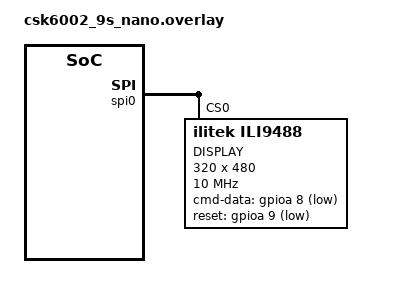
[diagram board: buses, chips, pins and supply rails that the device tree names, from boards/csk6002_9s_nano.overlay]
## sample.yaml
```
sample:
  description: Sample application for displays ili9488
  name: display_sample
tests:
  sample.board.csk6.display.kscan:
    platform_allow: csk6011a_nano
    tags: csk6
    harness: console
    timeout: 10
    harness_config:
      type: multi_line
      regex:
        - "init success"
```

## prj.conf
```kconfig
CONFIG_HEAP_MEM_POOL_SIZE=102400

#log
CONFIG_LOG=y
CONFIG_LOG_MODE_IMMEDIATE=y
CONFIG_LOG_MODE_MINIMAL=y
CONFIG_DISPLAY_LOG_LEVEL_DBG=y
CONFIG_LOG_BUFFER_SIZE=4096

#hardware
CONFIG_DISPLAY=y
CONFIG_LWEA2012=y
CONFIG_SPI=y
CONFIG_GPIO=y
CONFIG_SPI_CSK6=y
```

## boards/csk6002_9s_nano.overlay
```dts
#include <dt-bindings/display/ili9xxx.h>

&pinctrl{
                pinctrl_spi0_sclk_default: spi0_sclk_default {
                        pinctrls = < SPI0_CLK_GPIOA_07 >;
                };
                pinctrl_spi0_mosi_default: spi0_mosi_default {
                        pinctrls = < SPI0_MOSI_GPIOA_06 >;
                };
                pinctrl_spi0_miso_default: spi0_miso_default {
                        pinctrls = < SPI0_MISO_GPIOA_05 >;
                };
                pinctrl_spi0_cs_default: spi0_cs_default {
                        pinctrls = < SPI0_CS_N_GPIOA_04 >;
                }; 
};

&spi0 {
    status = "okay";
    pinctrl-0 = <&pinctrl_spi0_sclk_default &pinctrl_spi0_mosi_default &pinctrl_spi0_miso_default &pinctrl_spi0_cs_default>; 
    pinctrl-names = "default";

    ili9488@0 {
        height = <480>;
        width = <320>;
        status = "okay";
        compatible = "ilitek,ili9488";
        label = "DISPLAY";
        spi-max-frequency = <10000000>;
        reg = <0>;
        cmd-data-gpios = <&gpioa 8 1>; 
        reset-gpios = <&gpioa 9 1>; 
        pixel-format = <ILI9XXX_PIXEL_FORMAT_RGB888>;
        rotation = <0>;
        frmctr1 = [a0 11];
        pwctrl1 = [17 15];
        pwctrl2 = [41];
        pgamctrl = [00 03 09 08 16 0a 3f 78 4c 09 0a 08 16 1a 0f];
        ngamctrl = [00 16 19 03 0f 05 32 45 46 04 0e 0d 35 37 0f];
    };
};
```

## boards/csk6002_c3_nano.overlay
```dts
#include <dt-bindings/display/ili9xxx.h>

&pinctrl{
                pinctrl_spi0_sclk_default: spi0_sclk_default {
                        pinctrls = < SPI0_CLK_GPIOA_07 >;
                };
                pinctrl_spi0_mosi_default: spi0_mosi_default {
                        pinctrls = < SPI0_MOSI_GPIOA_06 >;
                };
                pinctrl_spi0_miso_default: spi0_miso_default {
                        pinctrls = < SPI0_MISO_GPIOA_05 >;
                };
                pinctrl_spi0_cs_default: spi0_cs_default {
                        pinctrls = < SPI0_CS_N_GPIOA_04 >;
                }; 
};

&spi0 {
    status = "okay";
    pinctrl-0 = <&pinctrl_spi0_sclk_default &pinctrl_spi0_mosi_default &pinctrl_spi0_miso_default &pinctrl_spi0_cs_default>; 
    pinctrl-names = "default";

    ili9488@0 {
        height = <480>;
        width = <320>;
        compatible = "ilitek,ili9488";
        label = "DISPLAY";
        spi-max-frequency = <10000000>;
        reg = <0>;
        cmd-data-gpios = <&gpioa 8 1>; 
        reset-gpios = <&gpioa 9 1>; 
        pixel-format = <ILI9XXX_PIXEL_FORMAT_RGB888>;
        rotation = <0>;
        frmctr1 = [a0 11];
        pwctrl1 = [17 15];
        pwctrl2 = [41];
        pgamctrl = [00 03 09 08 16 0a 3f 78 4c 09 0a 08 16 1a 0f];
        ngamctrl = [00 16 19 03 0f 05 32 45 46 04 0e 0d 35 37 0f];
    };
};
```

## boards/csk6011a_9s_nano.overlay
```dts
#include <dt-bindings/display/ili9xxx.h>

&csk6011a_9s_nano_pinctrl{
                pinctrl_spi0_sclk_default: spi0_sclk_default {
                        pinctrls = < &pinmuxa 7 6 >;
                };
                pinctrl_spi0_mosi_default: spi0_mosi_default {
                        pinctrls = < &pinmuxa 6 6 >;
                };
                pinctrl_spi0_miso_default: spi0_miso_default {
                        pinctrls = < &pinmuxa 5 6 >;
                };
                pinctrl_spi0_cs_default: spi0_cs_default {
                        pinctrls = < &pinmuxa 4 6 >;
                }; 
};

&spi0 {
    status = "okay";
    pinctrl-0 = <&pinctrl_spi0_sclk_default &pinctrl_spi0_mosi_default &pinctrl_spi0_miso_default &pinctrl_spi0_cs_default>; 
    pinctrl-names = "default";

    ili9488@0 {
        height = <480>;
        width = <320>;
        compatible = "ilitek,ili9488";
        label = "DISPLAY";
        spi-max-frequency = <10000000>;
        reg = <0>;
        cmd-data-gpios = <&gpioa 8 1>; 
        reset-gpios = <&gpioa 9 1>; 
        pixel-format = <ILI9XXX_PIXEL_FORMAT_RGB888>;
        rotation = <0>;
        frmctr1 = [a0 11];
        pwctrl1 = [17 15];
        pwctrl2 = [41];
        pgamctrl = [00 03 09 08 16 0a 3f 78 4c 09 0a 08 16 1a 0f];
        ngamctrl = [00 16 19 03 0f 05 32 45 46 04 0e 0d 35 37 0f];
    };
};
```

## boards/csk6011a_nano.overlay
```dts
/*
 * Copyright (c) 2023 Anhui(Shenzhen) Listenai Co., Ltd.
 *
 * SPDX-License-Identifier: Apache-2.0
 */

&pinctrl {
	pinctrl_spi0_sclk_default: spi0_sclk_default {
		pinctrls = <SPI0_CLK_GPIOA_07>;
	};
	pinctrl_spi0_mosi_default: spi0_mosi_default {
		pinctrls = <SPI0_MOSI_GPIOA_06>;
	};

	pinctrl_spi0_cs_default: spi0_cs_default {
		pinctrls = <SPI0_CS_N_GPIOA_04>;
	};
};

&spi0 {
	status = "okay";
	pinctrl-0 = <&pinctrl_spi0_sclk_default &pinctrl_spi0_mosi_default &pinctrl_spi0_cs_default>;
	pinctrl-names = "default";
	
	lwea2012@0 {
		height = <454>;
		width = <180>;
		compatible = "solomon,lwea2012";
		label = "DISPLAY";
		reg = <0>;
		cmd-data-gpios = <&gpioa 15 1>;
		reset-gpios = <&gpioa 9 1>;
		// te-gpios = <&gpiob 0x5 1>;
		x-offset = <0>;
		y-offset = <0>;
		spi-max-frequency = <50000000>;
	};
};
```

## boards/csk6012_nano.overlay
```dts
/*
 * Copyright (c) 2023 Anhui(Shenzhen) Listenai Co., Ltd.
 *
 * SPDX-License-Identifier: Apache-2.0
 */

#include <dt-bindings/display/ili9xxx.h>

&pinctrl {
	pinctrl_spi0_sclk_default: spi0_sclk_default {
		pinctrls = <SPI0_CLK_GPIOA_07>;
	};
	pinctrl_spi0_mosi_default: spi0_mosi_default {
		pinctrls = <SPI0_MOSI_GPIOA_06>;
	};
	pinctrl_spi0_miso_default: spi0_miso_default {
		pinctrls = <SPI0_MISO_GPIOA_05>;
	};
	pinctrl_spi0_cs_default: spi0_cs_default {
		pinctrls = <SPI0_CS_N_GPIOA_04>;
	};
};

&spi0 {
	status = "okay";
	pinctrl-0 = <&pinctrl_spi0_sclk_default &pinctrl_spi0_mosi_default &pinctrl_spi0_miso_default &pinctrl_spi0_cs_default>;
	pinctrl-names = "default";

	ili9488@0 {
		height = <480>;
		width = <320>;
		compatible = "ilitek,ili9488";
		label = "DISPLAY";
		spi-max-frequency = <10000000>;
		reg = <0>;
		cmd-data-gpios = <&gpioa 8 1>;
		reset-gpios = <&gpioa 9 1>;
		pixel-format = <ILI9XXX_PIXEL_FORMAT_RGB888>;
		rotation = <0>;
		frmctr1 = [ a0 11  ];
		pwctrl1 = [ 17 15  ];
		pwctrl2 = [ 41  ];
		pgamctrl = [ 00 03 09 08 16 0a 3f 78 4c 09 0a 08 16 1a 0f  ];
		ngamctrl = [ 00 16 19 03 0f 05 32 45 46 04 0e 0d 35 37 0f  ];
	};
};
```

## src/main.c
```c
/*
 * Copyright (c) 2023 Anhui(Shenzhen) Listenai Co., Ltd.
 *
 * SPDX-License-Identifier: Apache-2.0
 */

#include <logging/log.h>
LOG_MODULE_REGISTER(sample, LOG_LEVEL_INF);

#include <device.h>
#include <drivers/display.h>
#include <zephyr.h>

#define DISPLAY_DEV_NAME DT_LABEL(DT_INST(0, solomon_lwea2012))

enum corner {
	TOP_LEFT,
	TOP_RIGHT,
	BOTTOM_RIGHT,
	BOTTOM_LEFT
};

typedef void (*fill_buffer)(enum corner corner, uint8_t grey, uint8_t *buf, size_t buf_size);

static void fill_buffer_argb8888(enum corner corner, uint8_t grey, uint8_t *buf, size_t buf_size)
{
	uint32_t color = 0;

	switch (corner) {
	case TOP_LEFT:
		color = 0x00FF0000u;
		break;
	case TOP_RIGHT:
		color = 0x0000FF00u;
		break;
	case BOTTOM_RIGHT:
		color = 0x000000FFu;
		break;
	case BOTTOM_LEFT:
		color = grey << 16 | grey << 8 | grey;
		break;
	}

	for (size_t idx = 0; idx < buf_size; idx += 4) {
		*((uint32_t *)(buf + idx)) = color;
	}
}

static void fill_buffer_rgb888(enum corner corner, uint8_t grey, uint8_t *buf, size_t buf_size)
{
	uint32_t color = 0;

	switch (corner) {
	case TOP_LEFT:
		color = 0x00FF0000u;
		break;
	case TOP_RIGHT:
		color = 0x0000FF00u;
		break;
	case BOTTOM_RIGHT:
		color = 0x000000FFu;
		break;
	case BOTTOM_LEFT:
		color = grey << 16 | grey << 8 | grey;
		break;
	}

	for (size_t idx = 0; idx < buf_size; idx += 3) {
		*(buf + idx + 0) = color >> 16;
		*(buf + idx + 1) = color >> 8;
		*(buf + idx + 2) = color >> 0;
	}
}

static uint16_t get_rgb565_color(enum corner corner, uint8_t grey)
{
	uint16_t color = 0;
	uint16_t grey_5bit;

	switch (corner) {
	case TOP_LEFT:
		color = 0xF800u;
		break;
	case TOP_RIGHT:
		color = 0x07E0u;
		break;
	case BOTTOM_RIGHT:
		color = 0x001Fu;
		break;
	case BOTTOM_LEFT:
		grey_5bit = grey & 0x1Fu;
		/* shift the green an extra bit, it has 6 bits */
		color = grey_5bit << 11 | grey_5bit << (5 + 1) | grey_5bit;
		break;
	}
	return color;
}

static void fill_buffer_rgb565(enum corner corner, uint8_t grey, uint8_t *buf, size_t buf_size)
{
	uint16_t color = get_rgb565_color(corner, grey);

	for (size_t idx = 0; idx < buf_size; idx += 2) {
		*(buf + idx + 0) = (color >> 8) & 0xFFu;
		*(buf + idx + 1) = (color >> 0) & 0xFFu;
	}
}

static void fill_buffer_bgr565(enum corner corner, uint8_t grey, uint8_t *buf, size_t buf_size)
{
	uint16_t color = get_rgb565_color(corner, grey);

	for (size_t idx = 0; idx < buf_size; idx += 2) {
		*(uint16_t *)(buf + idx) = color;
	}
}

static void fill_buffer_mono(enum corner corner, uint8_t grey, uint8_t *buf, size_t buf_size)
{
	uint16_t color;

	switch (corner) {
	case BOTTOM_LEFT:
		color = (grey & 0x01u) ? 0xFFu : 0x00u;
		break;
	default:
		color = 0;
		break;
	}

	memset(buf, color, buf_size);
}

void main(void)
{
	size_t x;
	size_t y;
	size_t rect_w;
	size_t rect_h;
	size_t h_step;
	size_t scale;
	size_t grey_count;
	uint8_t *buf;
	int32_t grey_scale_sleep;
	const struct device *display_dev;
	struct display_capabilities capabilities;
	struct display_buffer_descriptor buf_desc;
	size_t buf_size = 0;
	fill_buffer fill_buffer_fnc = NULL;

	LOG_INF("Display sample for %s", DISPLAY_DEV_NAME);

	display_dev = device_get_binding(DISPLAY_DEV_NAME);

	if (display_dev == NULL) {
		LOG_ERR("Device %s not found. Aborting sample.", DISPLAY_DEV_NAME);
		return;
	}

	display_get_capabilities(display_dev, &capabilities);

	if (capabilities.screen_info & SCREEN_INFO_MONO_VTILED) {
		rect_w = 16;
		rect_h = 8;
	} else {
		rect_w = 2;
		rect_h = 1;
	}

	h_step = rect_h;
	scale = (capabilities.x_resolution / 8) / rect_h;

	rect_w *= scale;
	rect_h *= scale;

	if (capabilities.screen_info & SCREEN_INFO_EPD) {
		grey_scale_sleep = 10000;
	} else {
		grey_scale_sleep = 100;
	}

	buf_size = rect_w * rect_h;

	if (buf_size < (capabilities.x_resolution * h_step)) {
		buf_size = capabilities.x_resolution * h_step;
	}

	switch (capabilities.current_pixel_format) {
	case PIXEL_FORMAT_ARGB_8888:
		fill_buffer_fnc = fill_buffer_argb8888;
		buf_size *= 4;
		break;
	case PIXEL_FORMAT_RGB_888:
		fill_buffer_fnc = fill_buffer_rgb888;
		buf_size *= 3;
		break;
	case PIXEL_FORMAT_RGB_565:
		fill_buffer_fnc = fill_buffer_rgb565;
		buf_size *= 2;
		break;
	case PIXEL_FORMAT_BGR_565:
		fill_buffer_fnc = fill_buffer_bgr565;
		buf_size *= 2;
		break;
	case PIXEL_FORMAT_MONO01:
	case PIXEL_FORMAT_MONO10:
		fill_buffer_fnc = fill_buffer_mono;
		buf_size /= 8;
		break;
	default:
		LOG_ERR("Unsupported pixel format. Aborting sample.");
		return;
	}
	buf = k_malloc(buf_size);
	if (buf == NULL) {
		LOG_ERR("Could not allocate memory. Aborting sample.");
		return;
	}

	(void)memset(buf, 0xFFu, buf_size);

	buf_desc.buf_size = buf_size;
	buf_desc.pitch = capabilities.x_resolution;
	buf_desc.width = capabilities.x_resolution;
	buf_desc.height = h_step;

	for (int idx = 0; idx < capabilities.y_resolution; idx += h_step) {
		display_write(display_dev, 0, idx, &buf_desc, buf);
	}

	buf_desc.pitch = rect_w;
	buf_desc.width = rect_w;
	buf_desc.height = rect_h;

	fill_buffer_fnc(TOP_LEFT, 0, buf, buf_size);
	x = 0;
	y = 0;
	display_write(display_dev, x, y, &buf_desc, buf);

	fill_buffer_fnc(TOP_RIGHT, 0, buf, buf_size);
	x = capabilities.x_resolution - rect_w;
	y = 0;
	display_write(display_dev, x, y, &buf_desc, buf);

	fill_buffer_fnc(BOTTOM_RIGHT, 0, buf, buf_size);
	x = capabilities.x_resolution - rect_w;
	y = capabilities.y_resolution - rect_h;
	display_write(display_dev, x, y, &buf_desc, buf);

	display_blanking_off(display_dev);

	grey_count = 0;
	x = 0;
	y = capabilities.y_resolution - rect_h;

	LOG_INF("init success");
	while (1) {
		fill_buffer_fnc(BOTTOM_LEFT, grey_count, buf, buf_size);
		display_write(display_dev, x, y, &buf_desc, buf);
		++grey_count;
		k_msleep(grey_scale_sleep);
#if CONFIG_TEST
		if (grey_count >= 1024) {
			break;
		}
#endif
	}
}
```
